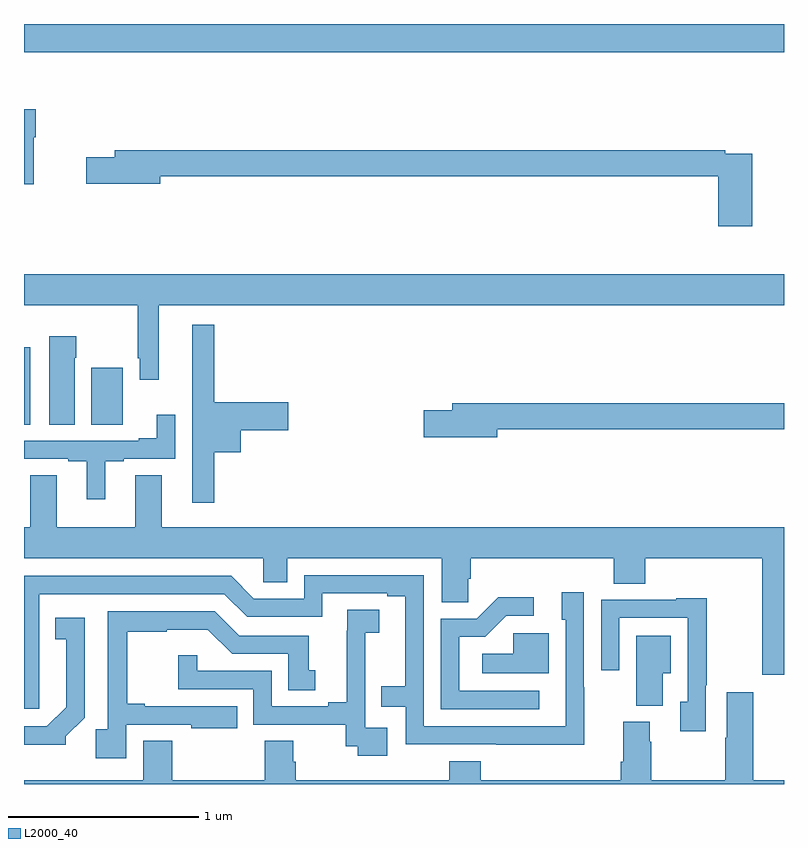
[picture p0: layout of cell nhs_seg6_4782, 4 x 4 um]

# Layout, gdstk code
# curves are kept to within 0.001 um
import gdstk
lib = gdstk.Library(unit=1e-6, precision=1e-09)
def R(c, l, rs):  # rectangles x0, y0, x1, y1
    for r in rs: c.add(gdstk.rectangle(r[:2], r[2:], *l))
def P(c, l, *ps):  # polygons
    for p in ps: c.add(gdstk.Polygon(p, *l))
L2000_40 = (2000, 40)

nhs_seg6_4782 = lib.new_cell('nhs_seg6_4782')
R(nhs_seg6_4782, L2000_40, [(395,929.392,395.032,929.8), (395.354,929.392,395.521,929.692), (395,931.352,399,931.5)])
P(nhs_seg6_4782, L2000_40, [(395.05,930.905),(395.063,930.905),(395.063,931.051),(395,931.051),(395,930.657),(395.05,930.657)],
  [(398.832,930.816),(398.69,930.816),(398.69,930.836),(395.477,930.836),(395.477,930.8),(395.328,930.8),(395.328,930.658),(395.716,930.658),(395.716,930.7),(398.654,930.7),(398.654,930.435),(398.832,930.435)],
  [(395,930.02),(395.598,930.02),(395.598,929.74),(395.61,929.74),(395.61,929.628),(395.708,929.628),(395.708,930.02),(399,930.02),(399,930.184),(395,930.184)],
  [(396.002,929.246),(396.142,929.246),(396.142,929.363),(396.391,929.363),(396.391,929.51),(396.002,929.51),(396.002,929.917),(395.885,929.917),(395.885,929.493),(395.886,929.493),(395.886,928.98),(396.002,928.98)],
  [(395.266,929.744),(395.274,929.744),(395.274,929.857),(395.132,929.857),(395.132,929.392),(395.266,929.392)],
  [(397.492,929.368),(399,929.368),(399,929.504),(397.253,929.504),(397.253,929.468),(397.104,929.468),(397.104,929.326),(397.492,929.326)],
  [(395.428,929.199),(395.524,929.199),(395.524,929.211),(395.796,929.211),(395.796,929.443),(395.699,929.443),(395.699,929.32),(395.603,929.32),(395.603,929.307),(395,929.307),(395,929.211),(395.234,929.211),(395.234,929.199),(395.33,929.199),(395.33,928.998),(395.428,928.998)],
  [(399,928.852),(395.725,928.852),(395.725,929.126),(395.585,929.126),(395.585,928.852),(395.173,928.852),(395.173,929.126),(395.033,929.126),(395.033,928.852),(395,928.852),(395,928.688),(396.258,928.688),(396.258,928.561),(396.385,928.561),(396.385,928.688),(397.199,928.688),(397.199,928.456),(397.338,928.456),(397.338,928.579),(397.352,928.579),(397.352,928.688),(398.105,928.688),(398.105,928.555),(398.27,928.555),(398.27,928.688),(398.885,928.688),(398.885,928.074),(399,928.074)],
  [(397.949,928.01),(397.947,928.01),(397.947,928.51),(397.829,928.51),(397.829,928.365),(397.851,928.365),(397.851,927.804),(397.104,927.804),(397.104,928.599),(396.474,928.599),(396.474,928.476),(396.21,928.476),(396.09,928.596),(395,928.596),(395,927.897),(395.08,927.897),(395.079,928.5),(396.054,928.5),(396.174,928.38),(396.57,928.38),(396.57,928.503),(396.911,928.503),(396.911,928.488),(397.007,928.488),(397.007,928.015),(396.88,928.015),(396.88,927.906),(397.008,927.906),(397.008,927.708),(397.949,927.707)],
  [(397.711,927.99),(397.29,927.99),(397.29,928.275),(397.428,928.275),(397.539,928.386),(397.684,928.386),(397.684,928.484),(397.496,928.484),(397.383,928.371),(397.194,928.371),(397.194,927.894),(397.711,927.894)],
  [(398.589,928.021),(398.594,928.021),(398.594,928.477),(398.433,928.477),(398.433,928.47),(398.037,928.47),(398.037,928.098),(398.133,928.098),(398.133,928.374),(398.493,928.374),(398.493,927.933),(398.453,927.933),(398.453,927.777),(398.589,927.777)],
  [(396.913,927.795),(396.795,927.795),(396.795,928.099),(396.797,928.099),(396.797,928.297),(396.871,928.297),(396.871,928.418),(396.7,928.418),(396.7,928.307),(396.698,928.307),(396.698,927.929),(396.602,927.929),(396.602,927.909),(396.303,927.909),(396.303,928.095),(395.913,928.095),(395.913,928.177),(395.812,928.177),(395.812,927.999),(396.207,927.999),(396.207,927.813),(396.694,927.813),(396.694,927.699),(396.757,927.699),(396.757,927.648),(396.913,927.648)],
  [(395.538,927.813),(395.879,927.813),(395.879,927.794),(396.122,927.794),(396.122,927.909),(395.635,927.909),(395.635,927.922),(395.543,927.922),(395.543,928.302),(395.75,928.302),(395.75,928.313),(395.968,928.313),(396.096,928.185),(396.392,928.185),(396.392,927.994),(396.532,927.994),(396.532,928.098),(396.499,928.098),(396.499,928.281),(396.132,928.281),(396.003,928.41),(395.442,928.41),(395.442,927.787),(395.377,927.787),(395.377,927.636),(395.538,927.636)],
  [(395.22,927.751),(395.319,927.85),(395.319,928.375),(395.164,928.375),(395.164,928.262),(395.222,928.262),(395.222,927.905),(395.121,927.804),(395,927.804),(395,927.707),(395.22,927.707)],
  [(397.762,928.293),(397.575,928.293),(397.575,928.186),(397.413,928.186),(397.413,928.082),(397.762,928.082)],
  [(398.362,928.082),(398.404,928.082),(398.404,928.279),(398.222,928.279),(398.222,927.913),(398.362,927.913)],
  [(399,927.52),(398.839,927.52),(398.839,927.982),(398.699,927.982),(398.699,927.743),(398.692,927.743),(398.692,927.52),(398.301,927.52),(398.301,927.722),(398.293,927.722),(398.293,927.828),(398.153,927.828),(398.153,927.616),(398.141,927.616),(398.141,927.52),(397.403,927.52),(397.403,927.619),(397.238,927.619),(397.238,927.52),(396.431,927.52),(396.431,927.618),(396.418,927.618),(396.418,927.728),(396.266,927.728),(396.266,927.52),(395.78,927.52),(395.78,927.728),(395.627,927.728),(395.627,927.52),(395,927.52),(395,927.5),(399,927.5)])

lib.write_gds('nhs_seg6_4782.gds')
